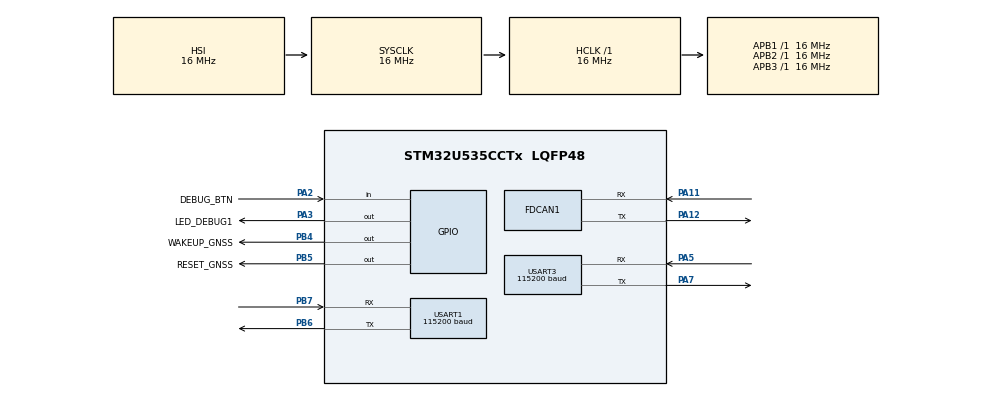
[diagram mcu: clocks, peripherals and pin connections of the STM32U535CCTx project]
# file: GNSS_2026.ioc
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CORTEX_M33_NS.userName=CORTEX_M33
FDCAN1.AutoRetransmission=ENABLE
FDCAN1.CalculateBaudRateNominal=500000
FDCAN1.CalculateTimeBitNominal=2000
FDCAN1.CalculateTimeQuantumNominal=125.0
FDCAN1.ClockDivider=FDCAN_CLOCK_DIV1
FDCAN1.Mode=FDCAN_MODE_NORMAL
FDCAN1.NominalPrescaler=8
FDCAN1.NominalTimeSeg1=13
FDCAN1.NominalTimeSeg2=2
FDCAN1.StdFiltersNbr=1
Mcu.Family=STM32U5
Mcu.Name=STM32U535CCTx
Mcu.Package=LQFP48
NVIC.FDCAN1_IT0_IRQn=true\:0\:0\:false\:false\:true\:true\:true\:true
NVIC.FDCAN1_IT1_IRQn=true\:0\:0\:false\:false\:true\:true\:true\:true
NVIC.PriorityGroup=NVIC_PRIORITYGROUP_4
NVIC.TIM3_IRQn=true\:0\:0\:false\:false\:true\:true\:true\:true
NVIC.USART1_IRQn=true\:0\:0\:false\:false\:true\:true\:true\:true
PA11.Mode=FDCAN_Activate
PA11.Signal=FDCAN1_RX
PA12.Mode=FDCAN_Activate
PA12.Signal=FDCAN1_TX
PA13\ (JTMS/SWDIO).Mode=Serial_Wire
PA13\ (JTMS/SWDIO).Signal=DEBUG_JTMS-SWDIO
PA14\ (JTCK/SWCLK).Mode=Serial_Wire
PA14\ (JTCK/SWCLK).Signal=DEBUG_JTCK-SWCLK
PA2.GPIO_Label=DEBUG_BTN
PA2.Signal=GPIO_Input
PA3.GPIO_Label=LED_DEBUG1
PA3.Signal=GPIO_Output
PA5.Mode=Asynchronous
PA5.Signal=USART3_RX
PA7.Mode=Asynchronous
PA7.Signal=USART3_TX
PB4\ (NJTRST).GPIO_Label=WAKEUP_GNSS
PB4\ (NJTRST).PinState=GPIO_PIN_SET
PB4\ (NJTRST).Signal=GPIO_Output
PB5.GPIO_Label=RESET_GNSS
PB5.PinState=GPIO_PIN_SET
PB5.Signal=GPIO_Output
PB6.Mode=Asynchronous
PB6.Signal=USART1_TX
PB7.Mode=Asynchronous
PB7.Signal=USART1_RX
PWR.pwrPrivilege=PWR_PRIVILEGE_NO
ProjectManager.HeapSize=0x200
ProjectManager.StackSize=0x400
ProjectManager.TargetToolchain=STM32CubeIDE
RCC.ADCFreq_Value=16000000
RCC.AHBFreq_Value=16000000
RCC.APB1Freq_Value=16000000
RCC.APB1TimFreq_Value=16000000
RCC.APB2Freq_Value=16000000
RCC.APB2TimFreq_Value=16000000
RCC.APB3Freq_Value=16000000
RCC.CortexFreq_Value=16000000
RCC.DACCLockSelectionVirtual=RCC_DAC1CLKSOURCE_LSI
RCC.DACCLockSelectionVirtualString=RCC_DAC1CLKSOURCE_LSI
RCC.EPOD_VALUE=16000000
RCC.HCLKFreq_Value=16000000
RCC.HSE_VALUE=16000000
RCC.HSI48_VALUE=48000000
RCC.HSI_VALUE=16000000
RCC.LSE_VALUE=32768
RCC.LSIDIV_VALUE=32000
RCC.MSI_VALUE=4000000
RCC.PLL1Q=4
RCC.PLLN=16
RCC.PLLSourceVirtual=RCC_PLLSOURCE_HSI
RCC.SYSCLKFreq_VALUE=16000000
RCC.SYSCLKSource=RCC_SYSCLKSOURCE_HSI
RCC.USBFreq_Value=48000000
RCC.VCOOutputFreq_Value=256000000
TIM3.PeriodNoDither=1787
TIM3.Prescaler=1787
USART1.BaudRate=115200
USART1.VirtualMode-Asynchronous=VM_ASYNC
USART3.BaudRate=115200
USART3.VirtualMode-Asynchronous=VM_ASYNC
VP_ICACHE_VS_ICACHE.Mode=DefaultMode
VP_LPBAMQUEUE_VS_QUEUE.Mode=QUEUEMODE
VP_LPBAM_VS_SIG1.Mode=SmartRun
VP_LPBAM_VS_SIG4.Mode=LPDMA1
VP_MEMORYMAP_VS_MEMORYMAP.Mode=CurAppReg
VP_PWR_VS_SECSignals.Mode=Security/Privilege
VP_TIM3_VS_ClockSourceINT.Mode=Internal
board=custom

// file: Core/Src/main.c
/* USER CODE BEGIN Header */
/**
 ******************************************************************************
 * @file           : main.c
 * @brief          : Main program body
 ******************************************************************************
 * @attention
 *
 * Copyright (c) 2026 STMicroelectronics.
 * All rights reserved.
 *
 * This software is licensed under terms that can be found in the LICENSE file
 * in the root directory of this software component.
 * If no LICENSE file comes with this software, it is provided AS-IS.
 *
 ******************************************************************************
 */
/* USER CODE END Header */
#include "main.h"

/* USER CODE BEGIN PD */
#define TX_TIMEOUT 500
#define FDCAN_FILTER_ID1 0x000
#define FDCAN_FILTER_ID2 0x7FF

/* USER CODE END PD */

FDCAN_HandleTypeDef hfdcan1;

TIM_HandleTypeDef htim3;

UART_HandleTypeDef huart1;
UART_HandleTypeDef huart3;

/* USER CODE BEGIN PV */
FDCAN_TxHeaderTypeDef TxHeader;
FDCAN_RxHeaderTypeDef RxHeader;
uint8_t RxData[8] = {0};
FDCAN_FilterTypeDef sFilterConfig;

void FDCAN_Restart() {
    if (HAL_FDCAN_Stop(&hfdcan1) != HAL_OK) {
//        Error_Handler();
    }
    if (HAL_FDCAN_Start(&hfdcan1) != HAL_OK) {
//    	Error_Handler();
    }
}

HAL_StatusTypeDef FDCAN_SendMessage(uint16_t id, uint8_t *TxData) {
	TxHeader.Identifier = id;
	HAL_StatusTypeDef status = HAL_FDCAN_AddMessageToTxFifoQ(&hfdcan1, &TxHeader, TxData);

	FDCAN_Restart();

	return status;
}

/* USER CODE END PV */

void SystemClock_Config(void);
static void MX_GPIO_Init(void);
static void MX_USART3_UART_Init(void);
static void MX_FDCAN1_Init(void);
static void MX_ICACHE_Init(void);
static void MX_USART1_UART_Init(void);
static void MX_TIM3_Init(void);

/* USER CODE BEGIN 0 */
uint8_t rx_buff[MAX_NMEA_LEN];

// inicializa a estrutura que salva os dados do gnss
gnss_data_t gnss_data;

// inicializa maquina de estados
system_state_t system_state = STATE_IDLE;

/* USER CODE END 0 */

int main(void)
{

  /* MCU Configuration--------------------------------------------------------*/

  /* Reset of all peripherals, Initializes the Flash interface and the Systick. */
  HAL_Init();

  /* Configure the system clock */
  SystemClock_Config();

  /* Initialize all configured peripherals */
  MX_GPIO_Init();
  MX_USART3_UART_Init();
  MX_FDCAN1_Init();
  MX_ICACHE_Init();
  MX_USART1_UART_Init();
  MX_TIM3_Init();
  /* USER CODE BEGIN 2 */
	// HAL_UART_Receive_IT(&huart1, rx_buff, MAX_NMEA_LEN);
	HAL_UARTEx_ReceiveToIdle_IT(&huart1, rx_buff, MAX_NMEA_LEN);
	print_init(&huart3);

//	uint8_t change_baud[MAX_NMEA_LEN] = "$PSTMSETPAR,3102,0xA*12\r\n";
//	uint8_t change_sample_rate[MAX_NMEA_LEN] = "$PSTMSETPAR,1303,0.2*36\r\n";
//	uint8_t save_par[MAX_NMEA_LEN] = "$PSTMSAVEPAR*58\r\n";
//	uint8_t reset[MAX_NMEA_LEN] = "$PSTMSRR*49\r\n";
//	HAL_UART_Transmit(&huart1, change_sample_rate, MAX_NMEA_LEN, 1000);
//	HAL_UART_Transmit(&huart1, save_par, MAX_NMEA_LEN, 1000);
//	HAL_UART_Transmit(&huart1, reset, MAX_NMEA_LEN, 1000);

//	HAL_UART_Transmit(&huart1, change_baud, MAX_NMEA_LEN, 1000);
//	HAL_UART_Transmit(&huart1, save_par, MAX_NMEA_LEN, 1000);
//	HAL_UART_Transmit(&huart1, reset, MAX_NMEA_LEN, 1000);

  /* USER CODE END 2 */

  /* Infinite loop */
  /* USER CODE BEGIN WHILE */
	HAL_TIM_Base_Start_IT(&htim3);

	int counter = 0;
	while (1)
	{
		counter++;
//		continue;
    /* USER CODE END WHILE */

    /* USER CODE BEGIN 3 */
		switch (system_state) {

		case STATE_RECEIVE_UART: {
			HAL_GPIO_TogglePin(LED_DEBUG1_GPIO_Port, LED_DEBUG1_Pin);

//			HAL_UART_Transmit(&huart3, rx_buff,
//								MAX_NMEA_LEN,
//								TX_TIMEOUT);
//
//			break;

			// novos dados chegaram no DMA
			// primeira coisa é filtrar onde começa e onde termina a mensagem
			const char *start = (char*) rx_buff;
			const char *begin, *end;

			while ((begin = strchr(start, '$')) != NULL) {
				end = strchr(begin, '\n');
				if (!end)
					break;  // no newline after '$' → stop

				// index de inicio e fim determinados. salva no nmea_sentence
				uint8_t sentence_size = end - begin + 1; // includes \n
				char *nmea_sentence = (char*) malloc(
						sentence_size * sizeof(char));
				memcpy(nmea_sentence, begin, sentence_size);

				// nmea_sentence agora contem uma sentença nmea. joga para os parsers
				NMEA_Type nmea_type = NMEA_UNKNOWN;

				if (classify_nmea(&nmea_type, nmea_sentence) != NO_ERROR) {
					continue; // falha na classificacao
				}

				switch (nmea_type) {
				case NMEA_GPGGA: {
					if (parse_gpgga(&gnss_data, nmea_sentence) != NO_ERROR) {
						continue; // falha no parse
					}
					break;
				}

				case NMEA_GPRMC: {
					if (parse_gprmc(&gnss_data, nmea_sentence) != NO_ERROR) {
						continue; // falha no parse
					}
					break;
				}
				case NMEA_UNKNOWN:
					break;
				}

				free(nmea_sentence);
				nmea_sentence = NULL;

				start = end + 1; // move forward after the newline
			}

			change_state(&system_state, STATE_IDLE);
			break;
		}

		case STATE_SEND_UART: {
			// timer disparou: faz o envio
			//			HAL_GPIO_TogglePin(LD2_GPIO_Port, LD2_Pin);

			char uart_output_message[MAX_NMEA_LEN] = { '\0' };
			if (save_to_message(&gnss_data, uart_output_message, MAX_NMEA_LEN)
					!= NO_ERROR) {
				continue; // messaging failed
			}

			HAL_UART_Transmit(&huart3, (uint8_t*) uart_output_message,
					MAX_NMEA_LEN,
					TX_TIMEOUT);

			change_state(&system_state, STATE_IDLE);

//			uint8_t TxData[8] = {25};
//			FDCAN_SendMessage(262, TxData);

			break;
		}
		case STATE_IDLE:
		default: {
			break;
		}
		}
	}
  /* USER CODE END 3 */
}

void SystemClock_Config(void)
{
  RCC_OscInitTypeDef RCC_OscInitStruct = {0};
  RCC_ClkInitTypeDef RCC_ClkInitStruct = {0};

  /** Configure the main internal regulator output voltage
  */
  if (HAL_PWREx_ControlVoltageScaling(PWR_REGULATOR_VOLTAGE_SCALE3) != HAL_OK)
  {
    Error_Handler();
  }

  /** Initializes the CPU, AHB and APB buses clocks
  */
  RCC_OscInitStruct.OscillatorType = RCC_OSCILLATORTYPE_HSI;
  RCC_OscInitStruct.HSIState = RCC_HSI_ON;
  RCC_OscInitStruct.HSICalibrationValue = RCC_HSICALIBRATION_DEFAULT;
  RCC_OscInitStruct.PLL.PLLState = RCC_PLL_ON;
  RCC_OscInitStruct.PLL.PLLSource = RCC_PLLSOURCE_HSI;
  RCC_OscInitStruct.PLL.PLLMBOOST = RCC_PLLMBOOST_DIV1;
  RCC_OscInitStruct.PLL.PLLM = 1;
  RCC_OscInitStruct.PLL.PLLN = 16;
  RCC_OscInitStruct.PLL.PLLP = 2;
  RCC_OscInitStruct.PLL.PLLQ = 4;
  RCC_OscInitStruct.PLL.PLLR = 2;
  RCC_OscInitStruct.PLL.PLLRGE = RCC_PLLVCIRANGE_1;
  RCC_OscInitStruct.PLL.PLLFRACN = 0;
  if (HAL_RCC_OscConfig(&RCC_OscInitStruct) != HAL_OK)
  {
    Error_Handler();
  }

  /** Initializes the CPU, AHB and APB buses clocks
  */
  RCC_ClkInitStruct.ClockType = RCC_CLOCKTYPE_HCLK|RCC_CLOCKTYPE_SYSCLK
                              |RCC_CLOCKTYPE_PCLK1|RCC_CLOCKTYPE_PCLK2
                              |RCC_CLOCKTYPE_PCLK3;
  RCC_ClkInitStruct.SYSCLKSource = RCC_SYSCLKSOURCE_HSI;
  RCC_ClkInitStruct.AHBCLKDivider = RCC_SYSCLK_DIV1;
  RCC_ClkInitStruct.APB1CLKDivider = RCC_HCLK_DIV1;
  RCC_ClkInitStruct.APB2CLKDivider = RCC_HCLK_DIV1;
  RCC_ClkInitStruct.APB3CLKDivider = RCC_HCLK_DIV1;

  if (HAL_RCC_ClockConfig(&RCC_ClkInitStruct, FLASH_LATENCY_0) != HAL_OK)
  {
    Error_Handler();
  }
}

static void MX_FDCAN1_Init(void)
{

  hfdcan1.Instance = FDCAN1;
  hfdcan1.Init.ClockDivider = FDCAN_CLOCK_DIV1;
  hfdcan1.Init.FrameFormat = FDCAN_FRAME_CLASSIC;
  hfdcan1.Init.Mode = FDCAN_MODE_NORMAL;
  hfdcan1.Init.AutoRetransmission = ENABLE;
  hfdcan1.Init.TransmitPause = DISABLE;
  hfdcan1.Init.ProtocolException = DISABLE;
  hfdcan1.Init.NominalPrescaler = 8;
  hfdcan1.Init.NominalSyncJumpWidth = 1;
  hfdcan1.Init.NominalTimeSeg1 = 13;
  hfdcan1.Init.NominalTimeSeg2 = 2;
  hfdcan1.Init.DataPrescaler = 1;
  hfdcan1.Init.DataSyncJumpWidth = 1;
  hfdcan1.Init.DataTimeSeg1 = 1;
  hfdcan1.Init.DataTimeSeg2 = 1;
  hfdcan1.Init.StdFiltersNbr = 1;
  hfdcan1.Init.ExtFiltersNbr = 0;
  hfdcan1.Init.TxFifoQueueMode = FDCAN_TX_FIFO_OPERATION;
  if (HAL_FDCAN_Init(&hfdcan1) != HAL_OK)
  {
    Error_Handler();
  }
  /* USER CODE BEGIN FDCAN1_Init 2 */
	sFilterConfig.IdType = FDCAN_STANDARD_ID;
	sFilterConfig.FilterIndex = 0;
	sFilterConfig.FilterType = FDCAN_FILTER_MASK;
	sFilterConfig.FilterConfig = FDCAN_FILTER_TO_RXFIFO0;
	sFilterConfig.FilterID1 = FDCAN_FILTER_ID1;
	sFilterConfig.FilterID2 = FDCAN_FILTER_ID2;

	if (HAL_FDCAN_ConfigFilter(&hfdcan1, &sFilterConfig) != HAL_OK){
		Error_Handler();
	}

	if (HAL_FDCAN_ActivateNotification(&hfdcan1, FDCAN_IT_RX_FIFO0_NEW_MESSAGE, 0) != HAL_OK){
		Error_Handler();
	}

	if (HAL_FDCAN_Start(&hfdcan1) != HAL_OK){
		Error_Handler();
	}

	HAL_NVIC_SetPriority(FDCAN1_IT0_IRQn, 0, 0);
	HAL_NVIC_EnableIRQ(FDCAN1_IT0_IRQn);
	HAL_NVIC_SetPriority(FDCAN1_IT1_IRQn, 0, 0);
	HAL_NVIC_EnableIRQ(FDCAN1_IT1_IRQn);

	TxHeader.Identifier = 0x000;
	TxHeader.IdType = FDCAN_STANDARD_ID;
	TxHeader.TxFrameType = FDCAN_DATA_FRAME;
	TxHeader.DataLength = FDCAN_DLC_BYTES_8;
	TxHeader.ErrorStateIndicator = FDCAN_ESI_ACTIVE;
	TxHeader.BitRateSwitch = FDCAN_BRS_OFF;
	TxHeader.FDFormat = FDCAN_CLASSIC_CAN;
	TxHeader.TxEventFifoControl = FDCAN_NO_TX_EVENTS;
	TxHeader.MessageMarker = 0;
  /* USER CODE END FDCAN1_Init 2 */

}

static void MX_ICACHE_Init(void)
{

  /** Enable instruction cache (default 2-ways set associative cache)
  */
  if (HAL_ICACHE_Enable() != HAL_OK)
  {
    Error_Handler();
  }

}

static void MX_TIM3_Init(void)
{

  TIM_ClockConfigTypeDef sClockSourceConfig = {0};
  TIM_MasterConfigTypeDef sMasterConfig = {0};

  htim3.Instance = TIM3;
  htim3.Init.Prescaler = 1787;
  htim3.Init.CounterMode = TIM_COUNTERMODE_UP;
  htim3.Init.Period = 1787;
  htim3.Init.ClockDivision = TIM_CLOCKDIVISION_DIV1;
  htim3.Init.AutoReloadPreload = TIM_AUTORELOAD_PRELOAD_DISABLE;
  if (HAL_TIM_Base_Init(&htim3) != HAL_OK)
  {
    Error_Handler();
  }
  sClockSourceConfig.ClockSource = TIM_CLOCKSOURCE_INTERNAL;
  if (HAL_TIM_ConfigClockSource(&htim3, &sClockSourceConfig) != HAL_OK)
  {
    Error_Handler();
  }
  sMasterConfig.MasterOutputTrigger = TIM_TRGO_RESET;
  sMasterConfig.MasterSlaveMode = TIM_MASTERSLAVEMODE_DISABLE;
  if (HAL_TIMEx_MasterConfigSynchronization(&htim3, &sMasterConfig) != HAL_OK)
  {
    Error_Handler();
  }

}

static void MX_USART1_UART_Init(void)
{

  huart1.Instance = USART1;
  huart1.Init.BaudRate = 115200;
  huart1.Init.WordLength = UART_WORDLENGTH_8B;
  huart1.Init.StopBits = UART_STOPBITS_1;
  huart1.Init.Parity = UART_PARITY_NONE;
  huart1.Init.Mode = UART_MODE_TX_RX;
  huart1.Init.HwFlowCtl = UART_HWCONTROL_NONE;
  huart1.Init.OverSampling = UART_OVERSAMPLING_16;
  huart1.Init.OneBitSampling = UART_ONE_BIT_SAMPLE_DISABLE;
  huart1.Init.ClockPrescaler = UART_PRESCALER_DIV1;
  huart1.AdvancedInit.AdvFeatureInit = UART_ADVFEATURE_NO_INIT;
  if (HAL_UART_Init(&huart1) != HAL_OK)
  {
    Error_Handler();
  }
  if (HAL_UARTEx_SetTxFifoThreshold(&huart1, UART_TXFIFO_THRESHOLD_1_8) != HAL_OK)
  {
    Error_Handler();
  }
  if (HAL_UARTEx_SetRxFifoThreshold(&huart1, UART_RXFIFO_THRESHOLD_1_8) != HAL_OK)
  {
    Error_Handler();
  }
  if (HAL_UARTEx_DisableFifoMode(&huart1) != HAL_OK)
  {
    Error_Handler();
  }

}

static void MX_USART3_UART_Init(void)
{

  huart3.Instance = USART3;
  huart3.Init.BaudRate = 115200;
  huart3.Init.WordLength = UART_WORDLENGTH_8B;
  huart3.Init.StopBits = UART_STOPBITS_1;
  huart3.Init.Parity = UART_PARITY_NONE;
  huart3.Init.Mode = UART_MODE_TX_RX;
  huart3.Init.HwFlowCtl = UART_HWCONTROL_NONE;
  huart3.Init.OverSampling = UART_OVERSAMPLING_16;
  huart3.Init.OneBitSampling = UART_ONE_BIT_SAMPLE_DISABLE;
  huart3.Init.ClockPrescaler = UART_PRESCALER_DIV1;
  huart3.AdvancedInit.AdvFeatureInit = UART_ADVFEATURE_NO_INIT;
  if (HAL_UART_Init(&huart3) != HAL_OK)
  {
    Error_Handler();
  }
  if (HAL_UARTEx_SetTxFifoThreshold(&huart3, UART_TXFIFO_THRESHOLD_1_8) != HAL_OK)
  {
    Error_Handler();
  }
  if (HAL_UARTEx_SetRxFifoThreshold(&huart3, UART_RXFIFO_THRESHOLD_1_8) != HAL_OK)
  {
    Error_Handler();
  }
  if (HAL_UARTEx_DisableFifoMode(&huart3) != HAL_OK)
  {
    Error_Handler();
  }

}

static void MX_GPIO_Init(void)
{
  GPIO_InitTypeDef GPIO_InitStruct = {0};

  /* GPIO Ports Clock Enable */
  __HAL_RCC_GPIOA_CLK_ENABLE();
  __HAL_RCC_GPIOB_CLK_ENABLE();

  /*Configure GPIO pin Output Level */
  HAL_GPIO_WritePin(LED_DEBUG1_GPIO_Port, LED_DEBUG1_Pin, GPIO_PIN_RESET);

  /*Configure GPIO pin Output Level */
  HAL_GPIO_WritePin(GPIOB, WAKEUP_GNSS_Pin|RESET_GNSS_Pin, GPIO_PIN_SET);

  /*Configure GPIO pin : DEBUG_BTN_Pin */
  GPIO_InitStruct.Pin = DEBUG_BTN_Pin;
  GPIO_InitStruct.Mode = GPIO_MODE_INPUT;
  GPIO_InitStruct.Pull = GPIO_NOPULL;
  HAL_GPIO_Init(DEBUG_BTN_GPIO_Port, &GPIO_InitStruct);

  /*Configure GPIO pin : LED_DEBUG1_Pin */
  GPIO_InitStruct.Pin = LED_DEBUG1_Pin;
  GPIO_InitStruct.Mode = GPIO_MODE_OUTPUT_PP;
  GPIO_InitStruct.Pull = GPIO_NOPULL;
  GPIO_InitStruct.Speed = GPIO_SPEED_FREQ_LOW;
  HAL_GPIO_Init(LED_DEBUG1_GPIO_Port, &GPIO_InitStruct);

  /*Configure GPIO pins : WAKEUP_GNSS_Pin RESET_GNSS_Pin */
  GPIO_InitStruct.Pin = WAKEUP_GNSS_Pin|RESET_GNSS_Pin;
  GPIO_InitStruct.Mode = GPIO_MODE_OUTPUT_PP;
  GPIO_InitStruct.Pull = GPIO_NOPULL;
  GPIO_InitStruct.Speed = GPIO_SPEED_FREQ_LOW;
  HAL_GPIO_Init(GPIOB, &GPIO_InitStruct);

}

/* USER CODE BEGIN 4 */
void HAL_FDCAN_RxFifo0Callback(FDCAN_HandleTypeDef *hfdcan,
		uint32_t RxFifo0ITs)
{
	if ((RxFifo0ITs & FDCAN_IT_RX_FIFO0_NEW_MESSAGE) != RESET)
	{
		HAL_FDCAN_GetRxMessage(
				hfdcan,
				FDCAN_RX_FIFO0,
				&RxHeader,
				RxData
		);
	}
}

// void HAL_UART_RxCpltCallback(UART_HandleTypeDef *huart)
// {
// 	HAL_UART_Receive_IT(&huart1, rx_buff, MAX_NMEA_LEN);
// 	change_state(&system_state, STATE_RECEIVE_UART);
// }

void HAL_UARTEx_RxEventCallback(UART_HandleTypeDef *huart, uint16_t Size)
{
  if (huart->Instance == USART1)
  {
    // Size = number of received bytes before IDLE
    change_state(&system_state, STATE_RECEIVE_UART);

    // Restart reception
    HAL_UARTEx_ReceiveToIdle_IT(&huart1, rx_buff, MAX_NMEA_LEN);
  }
}

void HAL_TIM_PeriodElapsedCallback(TIM_HandleTypeDef *htim)
{
	if (htim->Instance == TIM3)
	{
		change_state(&system_state, STATE_SEND_UART);
	}
}

/* USER CODE END 4 */

void Error_Handler(void)
{
	__disable_irq();
	while (1)
	{
	}
}
